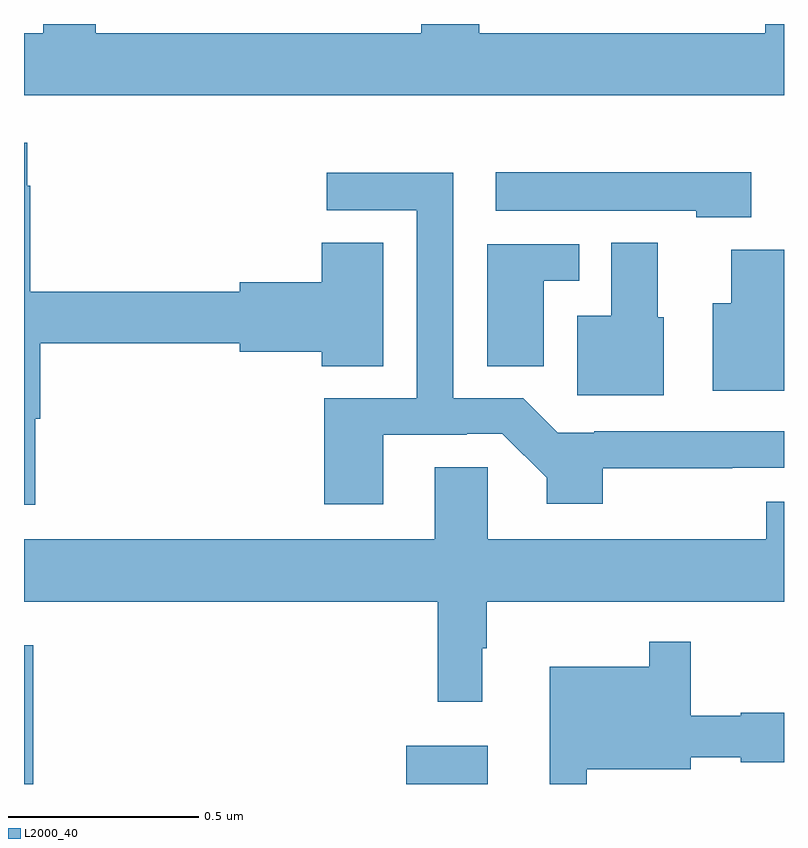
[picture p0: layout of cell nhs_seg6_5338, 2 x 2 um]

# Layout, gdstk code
import gdstk
lib = gdstk.Library(unit=1e-6, precision=1e-09)
def R(c, l, rs):  # rectangles x0, y0, x1, y1
    for r in rs: c.add(gdstk.rectangle(r[:2], r[2:], *l))
def P(c, l, *ps):  # polygons
    for p in ps: c.add(gdstk.Polygon(p, *l))
L2000_40 = (2000, 40)

nhs_seg6_5338 = lib.new_cell('nhs_seg6_5338')
R(nhs_seg6_5338, L2000_40, [(181,969.5,181.024,969.865), (182.006,969.5,182.221,969.601)])
P(nhs_seg6_5338, L2000_40, [(183,971.5),(182.951,971.5),(182.951,971.476),(182.198,971.476),(182.198,971.5),(182.045,971.5),(182.045,971.476),(181.189,971.476),(181.189,971.5),(181.05,971.5),(181.05,971.476),(181,971.476),(181,971.312),(183,971.312)],
  [(181.03,970.461),(181.043,970.461),(181.043,970.66),(181.568,970.66),(181.568,970.637),(181.784,970.637),(181.784,970.6),(181.945,970.6),(181.945,970.925),(181.784,970.925),(181.784,970.82),(181.568,970.82),(181.568,970.796),(181.016,970.796),(181.016,971.075),(181.009,971.075),(181.009,971.188),(181,971.188),(181,970.235),(181.03,970.235)],
  [(182.914,971.11),(182.241,971.11),(182.241,971.009),(182.769,971.009),(182.769,970.991),(182.914,970.991)],
  [(181.945,970.419),(182.165,970.419),(182.165,970.422),(182.259,970.422),(182.375,970.306),(182.375,970.238),(182.523,970.238),(182.523,970.331),(182.864,970.331),(182.864,970.332),(183,970.332),(183,970.428),(182.5,970.428),(182.5,970.425),(182.404,970.425),(182.314,970.515),(182.13,970.515),(182.13,971.108),(181.797,971.108),(181.797,971.01),(182.034,971.01),(182.034,970.515),(181.79,970.515),(181.79,970.236),(181.945,970.236)],
  [(182.683,970.728),(182.668,970.728),(182.668,970.924),(182.546,970.924),(182.546,970.732),(182.456,970.732),(182.456,970.523),(182.683,970.523)],
  [(182.368,970.824),(182.461,970.824),(182.461,970.92),(182.219,970.92),(182.219,970.6),(182.368,970.6)],
  [(183,970.906),(182.861,970.906),(182.861,970.765),(182.813,970.765),(182.813,970.535),(183,970.535)],
  [(182.206,969.857),(182.218,969.857),(182.218,969.98),(183,969.98),(183,970.243),(182.953,970.243),(182.953,970.144),(182.22,970.144),(182.22,970.334),(182.081,970.334),(182.081,970.144),(181,970.144),(181,969.98),(182.089,969.98),(182.089,969.717),(182.206,969.717)],
  [(182.481,969.539),(182.755,969.539),(182.755,969.57),(182.886,969.57),(182.886,969.557),(183,969.557),(183,969.687),(182.886,969.687),(182.886,969.679),(182.755,969.679),(182.755,969.874),(182.646,969.874),(182.646,969.808),(182.384,969.808),(182.384,969.5),(182.481,969.5)])

lib.write_gds('nhs_seg6_5338.gds')
